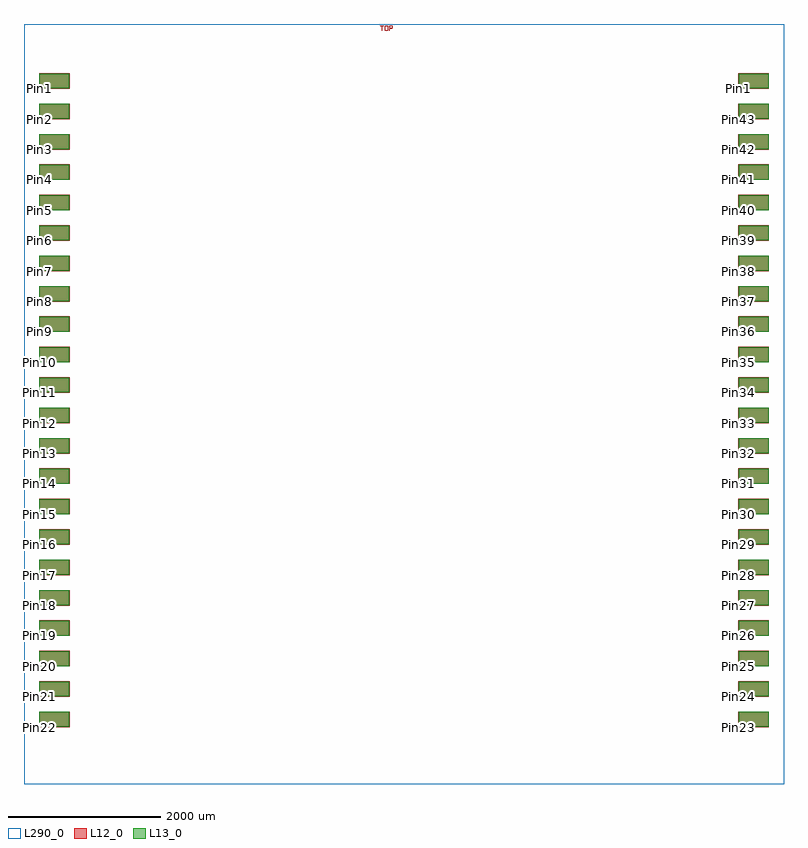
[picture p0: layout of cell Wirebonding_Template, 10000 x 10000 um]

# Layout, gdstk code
from math import pi, radians
import gdstk
lib = gdstk.Library(unit=1e-6, precision=1e-09)
def R(c, l, rs):  # rectangles x0, y0, x1, y1
    for r in rs: c.add(gdstk.rectangle(r[:2], r[2:], *l))
def P(c, l, *ps):  # polygons
    for p in ps: c.add(gdstk.Polygon(p, *l))
L12_0 = (12, 0)
L13_0 = (13, 0)
L290_0 = (290, 0)

bond_pad = lib.new_cell('bond_pad')
R(bond_pad, L12_0, [(-102.5,-202.5,102.5,202.5)])
R(bond_pad, L13_0, [(-97.5,-197.5,97.5,197.5)])

text_1 = lib.new_cell('TEXT$1')
P(text_1, L12_0, [(20,0),(20,60),(0,60),(0,70),(50,70),(50,60),(30,60),(30,0)],
  [(70,0),(60,10),(60,60),(70,70),(100,70),(110,60),(110,35),(100,35),(100,55),(95,60),(75,60),(70,55),(70,15),(75,10),(95,10),(100,15),(100,35),(110,35),(110,10),(100,0)],
  [(120,0),(120,70),(160,70),(170,60),(170,40),(160,30),(130,30),(130,40),(155,40),(160,45),(160,55),(155,60),(130,60),(130,0)])

wirebonding_template = lib.new_cell('Wirebonding_Template')
R(wirebonding_template, L290_0, [(-5000,-5000,5000,5000), (-4500,-4500,4500,4500)])
r = gdstk.Reference(bond_pad, (-4600,4250), rotation=3*pi/2); r.repetition = gdstk.Repetition(22, 2, v1=(0,-400), v2=(9200,0)); wirebonding_template.add(r)
wirebonding_template.add(gdstk.Reference(text_1, (-315.39,4907.99)))
wirebonding_template.add(gdstk.Label('Pin1', (-4802.5,4147.5), layer=10, texttype=0))
wirebonding_template.add(gdstk.Label('Pin1', (-4802.5,4147.5), layer=10, texttype=0))
wirebonding_template.add(gdstk.Label('Pin2', (-4802.5,3747.5), layer=10, texttype=0))
wirebonding_template.add(gdstk.Label('Pin3', (-4802.5,3347.5), layer=10, texttype=0))
wirebonding_template.add(gdstk.Label('Pin4', (-4802.5,2947.5), layer=10, texttype=0))
wirebonding_template.add(gdstk.Label('Pin5', (-4802.5,2547.5), layer=10, texttype=0))
wirebonding_template.add(gdstk.Label('Pin6', (-4802.5,2147.5), layer=10, texttype=0))
wirebonding_template.add(gdstk.Label('Pin7', (-4802.5,1747.5), layer=10, texttype=0))
wirebonding_template.add(gdstk.Label('Pin8', (-4802.5,1347.5), layer=10, texttype=0))
wirebonding_template.add(gdstk.Label('Pin9', (-4802.5,947.5), layer=10, texttype=0))
wirebonding_template.add(gdstk.Label('Pin10', (-4802.5,547.5), layer=10, texttype=0))
wirebonding_template.add(gdstk.Label('Pin11', (-4802.5,147.5), layer=10, texttype=0))
wirebonding_template.add(gdstk.Label('Pin12', (-4802.5,-252.5), layer=10, texttype=0))
wirebonding_template.add(gdstk.Label('Pin13', (-4802.5,-652.5), layer=10, texttype=0))
wirebonding_template.add(gdstk.Label('Pin14', (-4802.5,-1052.5), layer=10, texttype=0))
wirebonding_template.add(gdstk.Label('Pin15', (-4802.5,-1452.5), layer=10, texttype=0))
wirebonding_template.add(gdstk.Label('Pin16', (-4802.5,-1852.5), layer=10, texttype=0))
wirebonding_template.add(gdstk.Label('Pin17', (-4802.5,-2252.5), layer=10, texttype=0))
wirebonding_template.add(gdstk.Label('Pin18', (-4802.5,-2652.5), layer=10, texttype=0))
wirebonding_template.add(gdstk.Label('Pin19', (-4802.5,-3052.5), layer=10, texttype=0))
wirebonding_template.add(gdstk.Label('Pin20', (-4802.5,-3452.5), layer=10, texttype=0))
wirebonding_template.add(gdstk.Label('Pin21', (-4802.5,-3852.5), layer=10, texttype=0))
wirebonding_template.add(gdstk.Label('Pin22', (-4802.5,-4252.5), layer=10, texttype=0))
wirebonding_template.add(gdstk.Label('Pin1', (4397.5,4147.5), layer=10, texttype=0))
wirebonding_template.add(gdstk.Label('Pin44', (4397.5,4147.5), layer=10, texttype=0))
wirebonding_template.add(gdstk.Label('Pin43', (4397.5,3747.5), layer=10, texttype=0))
wirebonding_template.add(gdstk.Label('Pin42', (4397.5,3347.5), layer=10, texttype=0))
wirebonding_template.add(gdstk.Label('Pin41', (4397.5,2947.5), layer=10, texttype=0))
wirebonding_template.add(gdstk.Label('Pin40', (4397.5,2547.5), layer=10, texttype=0))
wirebonding_template.add(gdstk.Label('Pin39', (4397.5,2147.5), layer=10, texttype=0))
wirebonding_template.add(gdstk.Label('Pin38', (4397.5,1747.5), layer=10, texttype=0))
wirebonding_template.add(gdstk.Label('Pin37', (4397.5,1347.5), layer=10, texttype=0))
wirebonding_template.add(gdstk.Label('Pin36', (4397.5,947.5), layer=10, texttype=0))
wirebonding_template.add(gdstk.Label('Pin35', (4397.5,547.5), layer=10, texttype=0))
wirebonding_template.add(gdstk.Label('Pin34', (4397.5,147.5), layer=10, texttype=0))
wirebonding_template.add(gdstk.Label('Pin33', (4397.5,-252.5), layer=10, texttype=0))
wirebonding_template.add(gdstk.Label('Pin32', (4397.5,-652.5), layer=10, texttype=0))
wirebonding_template.add(gdstk.Label('Pin31', (4397.5,-1052.5), layer=10, texttype=0))
wirebonding_template.add(gdstk.Label('Pin30', (4397.5,-1452.5), layer=10, texttype=0))
wirebonding_template.add(gdstk.Label('Pin29', (4397.5,-1852.5), layer=10, texttype=0))
wirebonding_template.add(gdstk.Label('Pin28', (4397.5,-2252.5), layer=10, texttype=0))
wirebonding_template.add(gdstk.Label('Pin27', (4397.5,-2652.5), layer=10, texttype=0))
wirebonding_template.add(gdstk.Label('Pin26', (4397.5,-3052.5), layer=10, texttype=0))
wirebonding_template.add(gdstk.Label('Pin25', (4397.5,-3452.5), layer=10, texttype=0))
wirebonding_template.add(gdstk.Label('Pin24', (4397.5,-3852.5), layer=10, texttype=0))
wirebonding_template.add(gdstk.Label('Pin23', (4397.5,-4252.5), layer=10, texttype=0))

lib.write_gds('Wirebonding_Template.gds')
